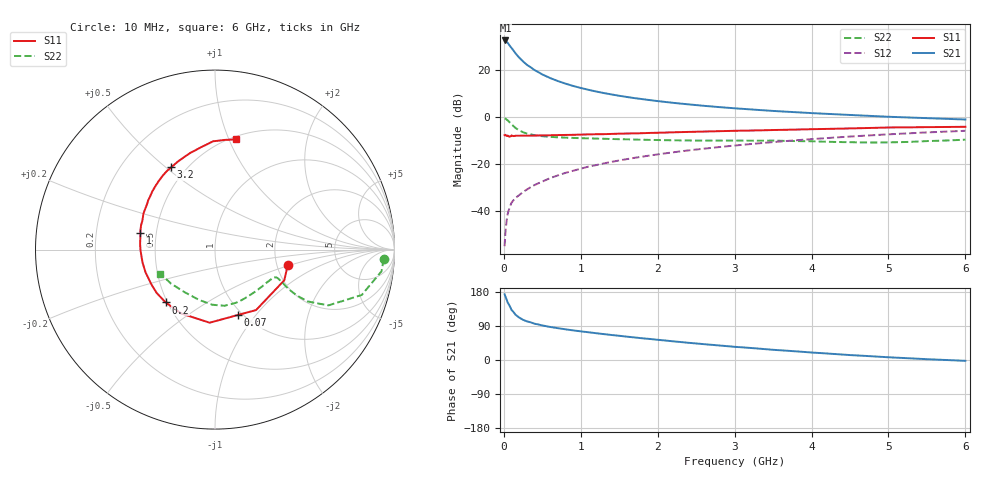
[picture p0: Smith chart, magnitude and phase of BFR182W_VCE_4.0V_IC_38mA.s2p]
! Infineon Technologies  Discrete & RF Semiconductors
! BFR182W
! VCE =  4.0 V,  IC =  38 mA
! Common Emitter S-Parameters:  Jan 2017
# GHz  S  MA  R  50
!  f  S11  S21  S12  S22
! GHz  MAG  ANG  MAG  ANG  MAG  ANG  MAG  ANG
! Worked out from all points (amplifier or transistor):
!   77 points, 10 MHz to 6 GHz, reference 50 ohm
!   highest |S21| = 32.6 dB at 20 MHz (marker M1)
!   |S21| within 3 dB of that: start of sweep to 95 MHz
!   unconditionally stable (mu >= 1): 458.4 MHz to 2.273 GHz
!   at 130 MHz: K = 0.58, MSG = 31.7 dB, |S12| = -35.2 dB
!   at 2.2 GHz: K = 1.01, MAG = 10.0 dB, |S12| = -15.0 dB
!   at 6 GHz: K = 0.88, MSG = 2.4 dB, |S12| = -5.8 dB
!   S11 on the Smith chart (normalised r, x): 10 MHz: 2.30, -0.48; 70 MHz: 0.95, -0.81; 200 MHz: 0.49, -0.34; 1 GHz: 0.41, +0.09; 3.2 GHz: 0.42, +0.52; 6 GHz: 0.53, +1.06
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0.01  0.4146 -12.0  42.9 173.6  0.0018 84.9  0.9418 -3.2
0.02  0.4221 -23.9  42.9 167.9  0.0035 93.6  0.9357 -7.4
0.05  0.4072 -55.8  38.24 151.6  0.0087 71.8  0.8557 -17.2
0.07  0.3859 -71.0  34.36 144.9  0.0112 68.7  0.7928 -20.4
0.1  0.4084 -94.2  29.69 132.0  0.0151 66.0  0.704 -26.2
0.15  0.4026 -117.9  23.01 119.8  0.019 62.2  0.592 -29.2
0.2  0.4029 -133.0  18.46 111.9  0.022 63.0  0.5231 -29.3
0.25  0.405 -143.4  15.32 106.0  0.0256 63.7  0.4787 -28.5
0.3  0.404 -151.2  13 102.0  0.0289 65.4  0.4477 -27.5
0.4  0.4072 -161.9  10.03 95.7  0.0361 68.7  0.4132 -25.8
0.5  0.41 -169.6  8.113 91.2  0.0426 70.5  0.3936 -24.9
0.6  0.412 -175.6  6.831 87.3  0.0504 71.7  0.3815 -24.4
0.7  0.4159 179.5  5.887 84.1  0.0575 73.1  0.3731 -24.5
1  0.426 167.7  4.183 75.6  0.0802 74.3  0.3572 -26.6
1.1  0.4302 164.6  3.823 73.2  0.0887 74.0  0.3542 -27.7
1.5  0.446 153.5  2.853 63.9  0.1199 73.2  0.34 -33.7
2.1  0.471 139.2  2.108 51.4  0.1701 70.0  0.3239 -46.1
3.1  0.516 119.8  1.505 33.4  0.2581 62.3  0.3171 -70.9
3.2  0.5195 118.0  1.467 31.9  0.2672 61.4  0.3164 -73.3
4.1  0.5588 103.1  1.199 18.5  0.3502 52.7  0.3033 -95.6
5.1  0.605 89.7  1.007 6.2  0.4397 41.9  0.293 -129.0
6  0.6247 79.2  0.892 -2.2  0.5132 31.6  0.3324 -156.2
